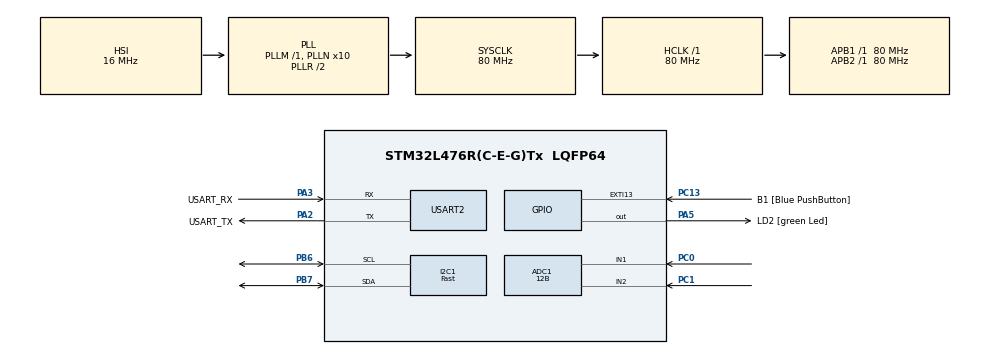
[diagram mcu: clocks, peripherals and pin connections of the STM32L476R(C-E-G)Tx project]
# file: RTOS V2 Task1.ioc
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ADC1.Channel-0\#ChannelRegularConversion=ADC_CHANNEL_1
ADC1.Channel-1\#ChannelRegularConversion=ADC_CHANNEL_2
ADC1.Channel-2\#ChannelRegularConversion=ADC_CHANNEL_TEMPSENSOR
ADC1.ContinuousConvMode=DISABLE
ADC1.EOCSelection=ADC_EOC_SINGLE_CONV
ADC1.NbrOfConversion=3
ADC1.NbrOfConversionFlag=1
ADC1.OffsetNumber-0\#ChannelRegularConversion=ADC_OFFSET_NONE
ADC1.OffsetNumber-1\#ChannelRegularConversion=ADC_OFFSET_NONE
ADC1.OffsetNumber-2\#ChannelRegularConversion=ADC_OFFSET_NONE
ADC1.Overrun=ADC_OVR_DATA_PRESERVED
ADC1.Rank-0\#ChannelRegularConversion=1
ADC1.Rank-1\#ChannelRegularConversion=2
ADC1.Rank-2\#ChannelRegularConversion=3
ADC1.Resolution=ADC_RESOLUTION_12B
ADC1.SamplingTime-0\#ChannelRegularConversion=ADC_SAMPLETIME_24CYCLES_5
ADC1.SamplingTime-1\#ChannelRegularConversion=ADC_SAMPLETIME_47CYCLES_5
ADC1.SamplingTime-2\#ChannelRegularConversion=ADC_SAMPLETIME_47CYCLES_5
ADC1.master=1
FREERTOS.Tasks01=Task1,24,128,StartTask1,Default,NULL,Dynamic,NULL,NULL;Task2c,40,128,StartTask2,Default,NULL,Dynamic,NULL,NULL
FREERTOS.configUSE_NEWLIB_REENTRANT=1
I2C1.I2C_Speed_Mode=I2C_Fast
I2C1.Timing=0x00702991
Mcu.Family=STM32L4
Mcu.Name=STM32L476R(C-E-G)Tx
Mcu.Package=LQFP64
NVIC.PriorityGroup=NVIC_PRIORITYGROUP_4
NVIC.TIM6_DAC_IRQn=true\:0\:0\:false\:false\:true\:false\:false\:true\:true
NVIC.TimeBase=TIM6_DAC_IRQn
NVIC.TimeBaseIP=TIM6
PA13\ (JTMS-SWDIO).GPIO_Label=TMS
PA13\ (JTMS-SWDIO).Mode=Trace_Asynchronous_SW
PA13\ (JTMS-SWDIO).Signal=SYS_JTMS-SWDIO
PA14\ (JTCK-SWCLK).GPIO_Label=TCK
PA14\ (JTCK-SWCLK).Mode=Trace_Asynchronous_SW
PA14\ (JTCK-SWCLK).Signal=SYS_JTCK-SWCLK
PA2.GPIO_Label=USART_TX
PA2.GPIO_Mode=GPIO_MODE_AF_PP
PA2.GPIO_PuPd=GPIO_NOPULL
PA2.GPIO_Speed=GPIO_SPEED_FREQ_VERY_HIGH
PA2.Mode=Asynchronous
PA2.Signal=USART2_TX
PA3.GPIO_Label=USART_RX
PA3.GPIO_Mode=GPIO_MODE_AF_PP
PA3.GPIO_PuPd=GPIO_NOPULL
PA3.GPIO_Speed=GPIO_SPEED_FREQ_VERY_HIGH
PA3.Mode=Asynchronous
PA3.Signal=USART2_RX
PA5.GPIO_Label=LD2 [green Led]
PA5.GPIO_ModeDefaultOutputPP=GPIO_MODE_OUTPUT_PP
PA5.GPIO_PuPd=GPIO_NOPULL
PA5.GPIO_Speed=GPIO_SPEED_FREQ_LOW
PA5.Signal=GPIO_Output
PB3\ (JTDO-TRACESWO).GPIO_Label=SWO
PB3\ (JTDO-TRACESWO).Mode=Trace_Asynchronous_SW
PB3\ (JTDO-TRACESWO).Signal=SYS_JTDO-SWO
PB6.Mode=I2C
PB6.Signal=I2C1_SCL
PB7.Mode=I2C
PB7.Signal=I2C1_SDA
PC0.Signal=ADCx_IN1
PC1.Signal=ADCx_IN2
PC13.GPIO_Label=B1 [Blue PushButton]
PC13.GPIO_ModeDefaultEXTI=GPIO_MODE_IT_FALLING
PC13.GPIO_PuPd=GPIO_NOPULL
PC13.Signal=GPXTI13
PC14-OSC32_IN\ (PC14).Mode=LSE-External-Oscillator
PC14-OSC32_IN\ (PC14).Signal=RCC_OSC32_IN
PC15-OSC32_OUT\ (PC15).Mode=LSE-External-Oscillator
PC15-OSC32_OUT\ (PC15).Signal=RCC_OSC32_OUT
PH0-OSC_IN\ (PH0).Signal=RCC_OSC_IN
PH1-OSC_OUT\ (PH1).Signal=RCC_OSC_OUT
ProjectManager.HeapSize=0x200
ProjectManager.StackSize=0x400
ProjectManager.TargetToolchain=STM32CubeIDE
RCC.ADCFreq_Value=64000000
RCC.AHBFreq_Value=80000000
RCC.APB1Freq_Value=80000000
RCC.APB1TimFreq_Value=80000000
RCC.APB2Freq_Value=80000000
RCC.APB2TimFreq_Value=80000000
RCC.CortexFreq_Value=80000000
RCC.HCLKFreq_Value=80000000
RCC.HSE_VALUE=8000000
RCC.HSI_VALUE=16000000
RCC.MSI_VALUE=4000000
RCC.PLLN=10
RCC.PLLSourceVirtual=RCC_PLLSOURCE_HSI
RCC.PREFETCH_ENABLE=1
RCC.SYSCLKFreq_VALUE=80000000
RCC.SYSCLKSource=RCC_SYSCLKSOURCE_PLLCLK
RCC.USBFreq_Value=64000000
RCC.VCOOutputFreq_Value=160000000
SH.ADCx_IN1.0=ADC1_IN1,IN1-Single-Ended
SH.ADCx_IN2.0=ADC1_IN2,IN2-Single-Ended
USART2.VirtualMode-Asynchronous=VM_ASYNC
VP_ADC1_TempSens_Input.Mode=IN-TempSens
VP_FREERTOS_VS_CMSIS_V2.Mode=CMSIS_V2
VP_SYS_VS_tim6.Mode=TIM6
board=NUCLEO-L476RG

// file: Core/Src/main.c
/* USER CODE BEGIN Header */
/**
  ******************************************************************************
  * @file           : main.c
  * @brief          : Main program body
  ******************************************************************************
  * @attention
  *
  * <h2><center>&copy; Copyright (c) 2021 STMicroelectronics.
  * All rights reserved.</center></h2>
  *
  * This software component is licensed by ST under BSD 3-Clause license,
  * the "License"; You may not use this file except in compliance with the
  * License. You may obtain a copy of the License at:
  *                        opensource.org/licenses/BSD-3-Clause
  *
  ******************************************************************************
  */
/* USER CODE END Header */
#include "main.h"
#include "cmsis_os.h"

/* USER CODE BEGIN Includes */
#include "string.h"
#include "stdio.h"
#include "ssd1306.h"
#include "fonts.h"
#include "test.h"
#include "bitmap.h"
#include "horse_anim.h"
/* USER CODE END Includes */

 ADC_HandleTypeDef hadc1;

I2C_HandleTypeDef hi2c1;

UART_HandleTypeDef huart2;

/* Definitions for Task1 */
osThreadId_t Task1Handle;
const osThreadAttr_t Task1_attributes = {
  .name = "Task1",
  .stack_size = 128 * 4,
  .priority = (osPriority_t) osPriorityNormal,
};
/* Definitions for Task2c */
osThreadId_t Task2cHandle;
const osThreadAttr_t Task2c_attributes = {
  .name = "Task2c",
  .stack_size = 128 * 4,
  .priority = (osPriority_t) osPriorityHigh,
};

void SystemClock_Config(void);
static void MX_GPIO_Init(void);
static void MX_USART2_UART_Init(void);
static void MX_I2C1_Init(void);
static void MX_ADC1_Init(void);
void StartTask1(void *argument);
void StartTask2(void *argument);

/* USER CODE BEGIN PFP */
void Task_action(int  ADC_INPUT);
/* USER CODE END PFP */

/* USER CODE BEGIN 0 */
void ADC_Select_CH1 (void)
  {
  	  ADC_ChannelConfTypeDef sConfig = {0};
  	  /** Configure for the selected ADC regular channel its corresponding rank in the sequencer and its sample time.
  	  */
  	  sConfig.Channel = ADC_CHANNEL_1;
  	  sConfig.Rank = 1;
  	  sConfig.SamplingTime = ADC_SAMPLETIME_12CYCLES_5;;
  	  if (HAL_ADC_ConfigChannel(&hadc1, &sConfig) != HAL_OK)
  	  {
  	    Error_Handler();
  	  }
  }

  void ADC_Select_CH2 (void)
  {
  	  ADC_ChannelConfTypeDef sConfig = {0};
  	  /** Configure for the selected ADC regular channel its corresponding rank in the sequencer and its sample time.
  	  */
  	  sConfig.Channel = ADC_CHANNEL_2;
  	  sConfig.Rank = 1;
  	  sConfig.SamplingTime = ADC_SAMPLETIME_24CYCLES_5;;
  	  if (HAL_ADC_ConfigChannel(&hadc1, &sConfig) != HAL_OK)
  	  {
  	    Error_Handler();
  	  }
  }

  void ADC_Select_CHTemp (void)
  {
  	  ADC_ChannelConfTypeDef sConfig = {0};
  	  /** Configure for the selected ADC regular channel its corresponding rank in the sequencer and its sample time.
  	  */
  	  sConfig.Channel = ADC_CHANNEL_TEMPSENSOR;
  	  sConfig.Rank = 1;
  	  sConfig.SamplingTime = ADC_SAMPLETIME_47CYCLES_5;;
  	  if (HAL_ADC_ConfigChannel(&hadc1, &sConfig) != HAL_OK)
  	  {
  	    Error_Handler();
  	  }
  }

uint16_t ADC_VAL[3];//1, value_adc2;// = 4096; // adc_value
float Temp = 0;
#define Avg_Slope .0025
#define V25 0.76
char msg[5];
/* USER CODE END 0 */

int main(void)
{

  /* MCU Configuration--------------------------------------------------------*/

  /* Reset of all peripherals, Initializes the Flash interface and the Systick. */
  HAL_Init();

  /* Configure the system clock */
  SystemClock_Config();

  /* Initialize all configured peripherals */
  MX_GPIO_Init();
  MX_USART2_UART_Init();
  MX_I2C1_Init();
  MX_ADC1_Init();
  /* USER CODE BEGIN 2 */
  SSD1306_Init (); // initialize the diaply
  SSD1306_GotoXY (0,0); // goto 10, 10
  SSD1306_Puts ("CH1:  ", &Font_11x18, 1); // print Voltmeter_Back to Intel Nuc
  SSD1306_UpdateScreen(); // update screen
  //HAL_Delay(3000);
  SSD1306_GotoXY (0,20);
  SSD1306_Puts ("CH2:  ", &Font_11x18, 1);
  SSD1306_GotoXY (0,40);
  SSD1306_Puts ("Temp:  ", &Font_11x18, 1);
  SSD1306_UpdateScreen(); // update screen
  // Get ADC value
  //HAL_ADC_Start(&hadc1);
  //HAL_ADC_Start(&hadc2);
  //HAL_ADC_PollForConversion(&hadc1, HAL_MAX_DELAY);
  //value_adc1 = HAL_ADC_GetValue(&hadc1);
  //value_adc2 = HAL_ADC_GetValue(&hadc2);
  /* USER CODE END 2 */

  /* Init scheduler */
  osKernelInitialize();

  /* Create the thread(s) */
  /* creation of Task1 */
  Task1Handle = osThreadNew(StartTask1, NULL, &Task1_attributes);

  /* creation of Task2c */
  Task2cHandle = osThreadNew(StartTask2, NULL, &Task2c_attributes);

  /* Start scheduler */
  osKernelStart();

  /* We should never get here as control is now taken by the scheduler */
  /* Infinite loop */
  while (1)
  {

  }
}

void SystemClock_Config(void)
{
  RCC_OscInitTypeDef RCC_OscInitStruct = {0};
  RCC_ClkInitTypeDef RCC_ClkInitStruct = {0};

  /** Configure the main internal regulator output voltage
  */
  if (HAL_PWREx_ControlVoltageScaling(PWR_REGULATOR_VOLTAGE_SCALE1) != HAL_OK)
  {
    Error_Handler();
  }

  /** Initializes the RCC Oscillators according to the specified parameters
  * in the RCC_OscInitTypeDef structure.
  */
  RCC_OscInitStruct.OscillatorType = RCC_OSCILLATORTYPE_HSI;
  RCC_OscInitStruct.HSIState = RCC_HSI_ON;
  RCC_OscInitStruct.HSICalibrationValue = RCC_HSICALIBRATION_DEFAULT;
  RCC_OscInitStruct.PLL.PLLState = RCC_PLL_ON;
  RCC_OscInitStruct.PLL.PLLSource = RCC_PLLSOURCE_HSI;
  RCC_OscInitStruct.PLL.PLLM = 1;
  RCC_OscInitStruct.PLL.PLLN = 10;
  RCC_OscInitStruct.PLL.PLLP = RCC_PLLP_DIV7;
  RCC_OscInitStruct.PLL.PLLQ = RCC_PLLQ_DIV2;
  RCC_OscInitStruct.PLL.PLLR = RCC_PLLR_DIV2;
  if (HAL_RCC_OscConfig(&RCC_OscInitStruct) != HAL_OK)
  {
    Error_Handler();
  }

  /** Initializes the CPU, AHB and APB buses clocks
  */
  RCC_ClkInitStruct.ClockType = RCC_CLOCKTYPE_HCLK|RCC_CLOCKTYPE_SYSCLK
                              |RCC_CLOCKTYPE_PCLK1|RCC_CLOCKTYPE_PCLK2;
  RCC_ClkInitStruct.SYSCLKSource = RCC_SYSCLKSOURCE_PLLCLK;
  RCC_ClkInitStruct.AHBCLKDivider = RCC_SYSCLK_DIV1;
  RCC_ClkInitStruct.APB1CLKDivider = RCC_HCLK_DIV1;
  RCC_ClkInitStruct.APB2CLKDivider = RCC_HCLK_DIV1;

  if (HAL_RCC_ClockConfig(&RCC_ClkInitStruct, FLASH_LATENCY_4) != HAL_OK)
  {
    Error_Handler();
  }
}

static void MX_ADC1_Init(void)
{

  ADC_MultiModeTypeDef multimode = {0};
  ADC_ChannelConfTypeDef sConfig = {0};

  /** Common config
  */
  hadc1.Instance = ADC1;
  hadc1.Init.ClockPrescaler = ADC_CLOCK_ASYNC_DIV1;
  hadc1.Init.Resolution = ADC_RESOLUTION_12B;
  hadc1.Init.DataAlign = ADC_DATAALIGN_RIGHT;
  hadc1.Init.ScanConvMode = ADC_SCAN_ENABLE;
  hadc1.Init.EOCSelection = ADC_EOC_SINGLE_CONV;
  hadc1.Init.LowPowerAutoWait = DISABLE;
  hadc1.Init.ContinuousConvMode = DISABLE;
  hadc1.Init.NbrOfConversion = 3;
  hadc1.Init.DiscontinuousConvMode = DISABLE;
  hadc1.Init.ExternalTrigConv = ADC_SOFTWARE_START;
  hadc1.Init.ExternalTrigConvEdge = ADC_EXTERNALTRIGCONVEDGE_NONE;
  hadc1.Init.DMAContinuousRequests = DISABLE;
  hadc1.Init.Overrun = ADC_OVR_DATA_PRESERVED;
  hadc1.Init.OversamplingMode = DISABLE;
  if (HAL_ADC_Init(&hadc1) != HAL_OK)
  {
    Error_Handler();
  }

  /** Configure the ADC multi-mode
  */
  multimode.Mode = ADC_MODE_INDEPENDENT;
  if (HAL_ADCEx_MultiModeConfigChannel(&hadc1, &multimode) != HAL_OK)
  {
    Error_Handler();
  }

  /** Configure Regular Channel
  */
  sConfig.Channel = ADC_CHANNEL_1;
  sConfig.Rank = ADC_REGULAR_RANK_1;
  sConfig.SamplingTime = ADC_SAMPLETIME_24CYCLES_5;
  sConfig.SingleDiff = ADC_SINGLE_ENDED;
  sConfig.OffsetNumber = ADC_OFFSET_NONE;
  sConfig.Offset = 0;
  if (HAL_ADC_ConfigChannel(&hadc1, &sConfig) != HAL_OK)
  {
    Error_Handler();
  }

  /** Configure Regular Channel
  */
  sConfig.Channel = ADC_CHANNEL_2;
  sConfig.Rank = ADC_REGULAR_RANK_2;
  sConfig.SamplingTime = ADC_SAMPLETIME_47CYCLES_5;
  if (HAL_ADC_ConfigChannel(&hadc1, &sConfig) != HAL_OK)
  {
    Error_Handler();
  }

  /** Configure Regular Channel
  */
  sConfig.Channel = ADC_CHANNEL_TEMPSENSOR;
  sConfig.Rank = ADC_REGULAR_RANK_3;
  if (HAL_ADC_ConfigChannel(&hadc1, &sConfig) != HAL_OK)
  {
    Error_Handler();
  }

}

static void MX_I2C1_Init(void)
{

  hi2c1.Instance = I2C1;
  hi2c1.Init.Timing = 0x00702991;
  hi2c1.Init.OwnAddress1 = 0;
  hi2c1.Init.AddressingMode = I2C_ADDRESSINGMODE_7BIT;
  hi2c1.Init.DualAddressMode = I2C_DUALADDRESS_DISABLE;
  hi2c1.Init.OwnAddress2 = 0;
  hi2c1.Init.OwnAddress2Masks = I2C_OA2_NOMASK;
  hi2c1.Init.GeneralCallMode = I2C_GENERALCALL_DISABLE;
  hi2c1.Init.NoStretchMode = I2C_NOSTRETCH_DISABLE;
  if (HAL_I2C_Init(&hi2c1) != HAL_OK)
  {
    Error_Handler();
  }

  /** Configure Analogue filter
  */
  if (HAL_I2CEx_ConfigAnalogFilter(&hi2c1, I2C_ANALOGFILTER_ENABLE) != HAL_OK)
  {
    Error_Handler();
  }

  /** Configure Digital filter
  */
  if (HAL_I2CEx_ConfigDigitalFilter(&hi2c1, 0) != HAL_OK)
  {
    Error_Handler();
  }

}

static void MX_USART2_UART_Init(void)
{

  huart2.Instance = USART2;
  huart2.Init.BaudRate = 115200;
  huart2.Init.WordLength = UART_WORDLENGTH_8B;
  huart2.Init.StopBits = UART_STOPBITS_1;
  huart2.Init.Parity = UART_PARITY_NONE;
  huart2.Init.Mode = UART_MODE_TX_RX;
  huart2.Init.HwFlowCtl = UART_HWCONTROL_NONE;
  huart2.Init.OverSampling = UART_OVERSAMPLING_16;
  huart2.Init.OneBitSampling = UART_ONE_BIT_SAMPLE_DISABLE;
  huart2.AdvancedInit.AdvFeatureInit = UART_ADVFEATURE_NO_INIT;
  if (HAL_UART_Init(&huart2) != HAL_OK)
  {
    Error_Handler();
  }

}

static void MX_GPIO_Init(void)
{
  GPIO_InitTypeDef GPIO_InitStruct = {0};

  /* GPIO Ports Clock Enable */
  __HAL_RCC_GPIOC_CLK_ENABLE();
  __HAL_RCC_GPIOH_CLK_ENABLE();
  __HAL_RCC_GPIOA_CLK_ENABLE();
  __HAL_RCC_GPIOB_CLK_ENABLE();

  /*Configure GPIO pin Output Level */
  HAL_GPIO_WritePin(LD2_GPIO_Port, LD2_Pin, GPIO_PIN_RESET);

  /*Configure GPIO pin : B1_Pin */
  GPIO_InitStruct.Pin = B1_Pin;
  GPIO_InitStruct.Mode = GPIO_MODE_IT_FALLING;
  GPIO_InitStruct.Pull = GPIO_NOPULL;
  HAL_GPIO_Init(B1_GPIO_Port, &GPIO_InitStruct);

  /*Configure GPIO pin : LD2_Pin */
  GPIO_InitStruct.Pin = LD2_Pin;
  GPIO_InitStruct.Mode = GPIO_MODE_OUTPUT_PP;
  GPIO_InitStruct.Pull = GPIO_NOPULL;
  GPIO_InitStruct.Speed = GPIO_SPEED_FREQ_LOW;
  HAL_GPIO_Init(LD2_GPIO_Port, &GPIO_InitStruct);

}

/* USER CODE BEGIN 4 */
void Task_action(int ADC_INPUT)
{
	/*if (ADC_INPUT == 1) {
		ADC_Select_CH1();
	    HAL_ADC_Start(&hadc1);
		HAL_ADC_PollForConversion(&hadc1, 1000);
		ADC_VAL[0] = HAL_ADC_GetValue(&hadc1);
		HAL_ADC_Stop(&hadc1);
		sprintf(msg,"%hu\r\n",ADC_VAL[0]);
		HAL_UART_Transmit(&huart2, (uint8_t*)msg, strlen(msg), HAL_MAX_DELAY);
		SSD1306_GotoXY (60,0); // goto 10, 10
				SSD1306_Putc ((char)(ADC_VAL[0]/1000+48), &Font_11x18, 1);
				SSD1306_Putc ((char)((ADC_VAL[0]%1000)/100+48), &Font_11x18, 1);
				SSD1306_Putc ((char)((ADC_VAL[0]%100)/10+48), &Font_11x18, 1);
				SSD1306_Putc ((char)(ADC_VAL[0]%10+48), &Font_11x18, 1);
				SSD1306_UpdateScreen(); // update screen
				HAL_Delay(200);
	}
	if (ADC_INPUT == 2) {
		ADC_Select_CH2();
		HAL_ADC_Start(&hadc1);
		HAL_ADC_PollForConversion(&hadc1, 1000);
		ADC_VAL[1] = HAL_ADC_GetValue(&hadc1);
		HAL_ADC_Stop(&hadc1);

		ADC_Select_CHTemp();
		HAL_ADC_Start(&hadc1);
		HAL_ADC_PollForConversion(&hadc1, 1000);
		ADC_VAL[2] = HAL_ADC_GetValue(&hadc1);
		HAL_ADC_Stop(&hadc1);
		Temp = ((3.3*ADC_VAL[2]/4095 - V25)/Avg_Slope)+25;

	    sprintf(msg,"%hu\r\n",ADC_VAL[1]);
		HAL_UART_Transmit(&huart2, (uint8_t*)msg, strlen(msg), HAL_MAX_DELAY);

		sprintf(msg,"%hu\r\n",(uint16_t)Temp);
		HAL_UART_Transmit(&huart2, (uint8_t*)msg, strlen(msg), HAL_MAX_DELAY);

		SSD1306_GotoXY (60,20); // goto 10, 10
				SSD1306_Putc ((char)(ADC_VAL[1]/1000+48), &Font_11x18, 1);
				SSD1306_Putc ((char)((ADC_VAL[1]%1000)/100+48), &Font_11x18, 1);
				SSD1306_Putc ((char)((ADC_VAL[1]%100)/10+48), &Font_11x18, 1);
				SSD1306_Putc ((char)(ADC_VAL[1]%10+48), &Font_11x18, 1);

				SSD1306_GotoXY (60,42); // goto 10, 10
				SSD1306_Putc ((char)((int)(Temp)/100+48), &Font_11x18, 1);
				SSD1306_Putc ((char)(((int)(Temp)%100)/10+48), &Font_11x18, 1);
				SSD1306_Puts (".", &Font_11x18, 1);
				SSD1306_Putc ((char)((int)(Temp)%10+48), &Font_11x18, 1);
				SSD1306_UpdateScreen(); // update screen
				HAL_Delay(200);
	}*/
	//////////////////
	switch (ADC_INPUT)
	{
	case 1:
		ADC_Select_CH1();
		HAL_ADC_Start(&hadc1);
		HAL_ADC_PollForConversion(&hadc1, 1000);
		ADC_VAL[0] = HAL_ADC_GetValue(&hadc1);
		HAL_ADC_Stop(&hadc1);
		sprintf(msg,"%hu\r\n",ADC_VAL[0]);
		HAL_UART_Transmit(&huart2, (uint8_t*)msg, strlen(msg), HAL_MAX_DELAY);
		SSD1306_GotoXY (60,0); // goto 10, 10
		SSD1306_Putc ((char)(ADC_VAL[0]/1000+48), &Font_11x18, 1);
		SSD1306_Putc ((char)((ADC_VAL[0]%1000)/100+48), &Font_11x18, 1);
		SSD1306_Putc ((char)((ADC_VAL[0]%100)/10+48), &Font_11x18, 1);
		SSD1306_Putc ((char)(ADC_VAL[0]%10+48), &Font_11x18, 1);
		SSD1306_UpdateScreen(); // update screen
		break;
	case 2:
		ADC_Select_CH2();
		HAL_ADC_Start(&hadc1);
		HAL_ADC_PollForConversion(&hadc1, 1000);
		ADC_VAL[1] = HAL_ADC_GetValue(&hadc1);
		HAL_ADC_Stop(&hadc1);

		ADC_Select_CHTemp();
		HAL_ADC_Start(&hadc1);
		HAL_ADC_PollForConversion(&hadc1, 1000);
		ADC_VAL[2] = HAL_ADC_GetValue(&hadc1);
		HAL_ADC_Stop(&hadc1);
		Temp = ((3.3*ADC_VAL[2]/4095 - V25)/Avg_Slope)+25;

		sprintf(msg,"%hu\r\n",ADC_VAL[1]);
		HAL_UART_Transmit(&huart2, (uint8_t*)msg, strlen(msg), HAL_MAX_DELAY);

		sprintf(msg,"%hu\r\n",(uint16_t)Temp);
		HAL_UART_Transmit(&huart2, (uint8_t*)msg, strlen(msg), HAL_MAX_DELAY);

		SSD1306_GotoXY (60,20); // goto 10, 10
		SSD1306_Putc ((char)(ADC_VAL[1]/1000+48), &Font_11x18, 1);
		SSD1306_Putc ((char)((ADC_VAL[1]%1000)/100+48), &Font_11x18, 1);
		SSD1306_Putc ((char)((ADC_VAL[1]%100)/10+48), &Font_11x18, 1);
		SSD1306_Putc ((char)(ADC_VAL[1]%10+48), &Font_11x18, 1);

		SSD1306_GotoXY (60,40); // goto 10, 10
		SSD1306_Putc ((char)((int)(Temp)/100+48), &Font_11x18, 1);
		SSD1306_Putc ((char)(((int)(Temp)%100)/10+48), &Font_11x18, 1);
		SSD1306_Puts (".", &Font_11x18, 1);
		SSD1306_Putc ((char)((int)(Temp)%10+48), &Font_11x18, 1);
		SSD1306_UpdateScreen(); // update screen
		break;
	default:
		break;
	}
	//SSD1306_UpdateScreen(); // update screen
}
/* USER CODE END 4 */

void StartTask1(void *argument)
{
  /* USER CODE BEGIN 5 */
  /* Infinite loop */
  for(;;)
  {
	Task_action(1);
    osDelay(1000);
  }
  /* USER CODE END 5 */
}

void StartTask2(void *argument)
{
  /* USER CODE BEGIN StartTask2 */
  /* Infinite loop */
  for(;;)
  {
	Task_action(2);
    osDelay(2000);
  }
  /* USER CODE END StartTask2 */
}

void HAL_TIM_PeriodElapsedCallback(TIM_HandleTypeDef *htim)
{
  if (htim->Instance == TIM6) {
    HAL_IncTick();
  }
}

void Error_Handler(void)
{
  __disable_irq();
  while (1)
  {
  }
}
